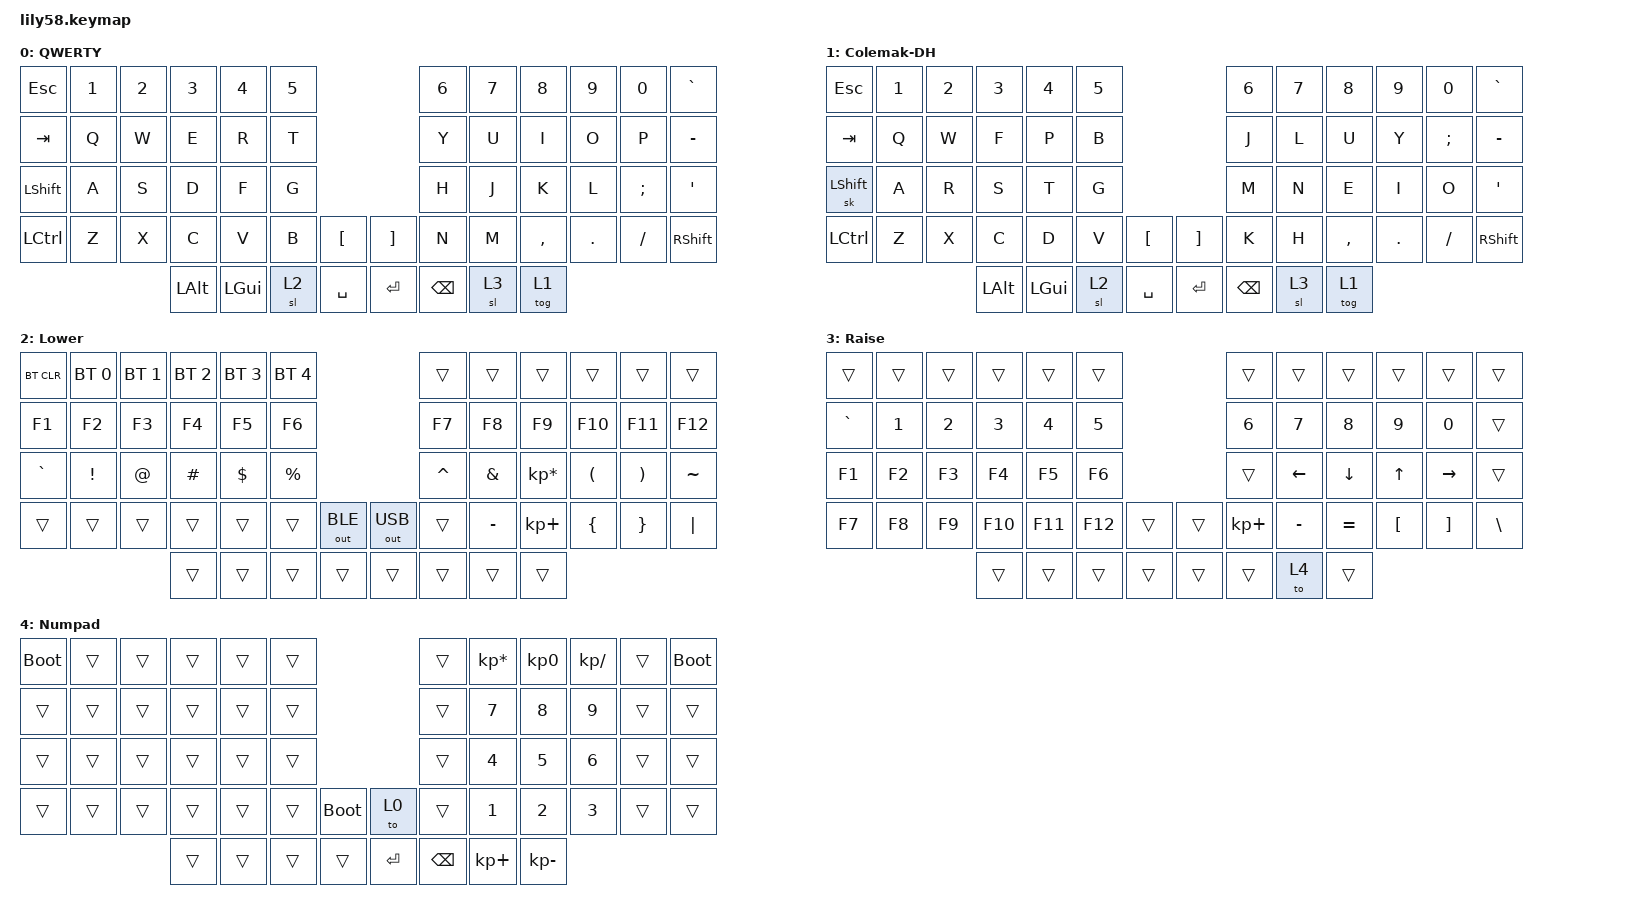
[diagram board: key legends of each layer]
/*
 * Copyright (c) 2020 The ZMK Contributors
 *
 * SPDX-License-Identifier: MIT
 */

#include <behaviors.dtsi>
#include <dt-bindings/zmk/bt.h>
#include <dt-bindings/zmk/keys.h>
#include <dt-bindings/zmk/outputs.h>

/ {
    keymap {
        compatible = "zmk,keymap";

        QWERTY {
            // ------------------------------------------------------------------------------------------------------------
            // |  ESC  |  1  |  2  |  3   |  4   |  5   |                   |  6   |  7    |  8    |  9   |   0   |   `   |
            // |  TAB  |  Q  |  W  |  E   |  R   |  T   |                   |  Y   |  U    |  I    |  O   |   P   |   -   |
            // |  CTRL |  A  |  S  |  D   |  F   |  G   |                   |  H   |  J    |  K    |  L   |   ;   |   '   |
            // | SHIFT |  Z  |  X  |  C   |  V   |  B   |   "["  |  |  "]"  |  N   |  M    |  ,    |  .   |   /   | SHIFT |
            //                     | ALT  | GUI  | LOWER|  SPACE |  | ENTER | RAISE| BSPC  | GUI   |

            display-name = "QWERTY";
            bindings = <
&kp ESC    &kp N1  &kp N2  &kp N3    &kp N4    &kp N5                         &kp N6         &kp N7  &kp N8     &kp N9   &kp N0    &kp GRAVE
&kp TAB    &kp Q   &kp W   &kp E     &kp R     &kp T                          &kp Y          &kp U   &kp I      &kp O    &kp P     &kp MINUS
&kp LSHFT  &kp A   &kp S   &kp D     &kp F     &kp G                          &kp H          &kp J   &kp K      &kp L    &kp SEMI  &kp SQT
&kp LCTRL  &kp Z   &kp X   &kp C     &kp V     &kp B   &kp LBKT     &kp RBKT  &kp N          &kp M   &kp COMMA  &kp DOT  &kp FSLH  &kp RSHFT
                           &kp LALT  &kp LGUI  &sl 2   &kp SPACE    &kp RET   &kp BACKSPACE  &sl 3   &tog 1
            >;
        };

        Colemak-DH {
            bindings = <
&kp ESC         &kp N1  &kp N2  &kp N3    &kp N4    &kp N5                          &kp N6    &kp N7  &kp N8     &kp N9   &kp N0    &kp GRAVE
&kp TAB         &kp Q   &kp W   &kp F     &kp P     &kp B                           &kp J     &kp L   &kp U      &kp Y    &kp SEMI  &kp MINUS
&sk LEFT_SHIFT  &kp A   &kp R   &kp S     &kp T     &kp G                           &kp M     &kp N   &kp E      &kp I    &kp O     &kp APOS
&kp LCTRL       &kp Z   &kp X   &kp C     &kp D     &kp V   &kp LBKT     &kp RBKT   &kp K     &kp H   &kp COMMA  &kp DOT  &kp FSLH  &kp RSHFT
                                &kp LALT  &kp LGUI  &sl 2   &kp SPACE    &kp ENTER  &kp BSPC  &sl 3   &tog 1
            >;

            label = "Colemak-DH";
        };

        lower_layer {
            // ------------------------------------------------------------------------------------------------------------
            // | BTCLR | BT1 | BT2 |  BT3 |  BT4 |  BT5 |                   |      |       |       |      |       |       |
            // |  F1   |  F2 |  F3 |  F4  |  F5  |  F6  |                   |  F7  |  F8   |  F9   |  F10 |  F11  |  F12  |
            // |   `   |  !  |  @  |  #   |  $   |  %   |                   |  ^   |  &    |  *    |  (   |   )   |   ~   |
            // |       |     |     |      |      |      |        |  |       |      |  _    |  +    |  {   |   }   |  "|"  |
            //                     |      |      |      |        |  |       |      |       |       |

            display-name = "Lower";
            bindings = <
&bt BT_CLR  &bt BT_SEL 0  &bt BT_SEL 1  &bt BT_SEL 2  &bt BT_SEL 3  &bt BT_SEL 4                                &trans     &trans     &trans           &trans    &trans    &trans
&kp F1      &kp F2        &kp F3        &kp F4        &kp F5        &kp F6                                      &kp F7     &kp F8     &kp F9           &kp F10   &kp F11   &kp F12
&kp GRAVE   &kp EXCL      &kp AT        &kp HASH      &kp DOLLAR    &kp PRCNT                                   &kp CARET  &kp AMPS   &kp KP_MULTIPLY  &kp LPAR  &kp RPAR  &kp TILDE
&trans      &trans        &trans        &trans        &trans        &trans        &out OUT_BLE    &out OUT_USB  &trans     &kp MINUS  &kp KP_PLUS      &kp LBRC  &kp RBRC  &kp PIPE
                                        &trans        &trans        &trans        &trans          &trans        &trans     &trans     &trans
            >;
        };

        raise_layer {
            // ------------------------------------------------------------------------------------------------------------
            // |       |     |     |      |      |      |                   |      |       |       |      |       |       |
            // |   `   |  1  |  2  |  3   |  4   |  5   |                   |  6   |   7   |   8   |  9   |   0   |       |
            // |   F1  |  F2 |  F3 |  F4  |  F5  |  F6  |                   |      |   <-  |   v   |  ^   |  ->   |       |
            // |   F7  |  F8 |  F9 |  F10 |  F11 |  F12 |        |  |       |  +   |   -   |   =   |  [   |   ]   |   \   |
            //                     |      |      |      |        |  |       |      |       |       |

            display-name = "Raise";
            bindings = <
&trans     &trans  &trans  &trans   &trans   &trans                     &trans       &trans     &trans     &trans    &trans     &trans
&kp GRAVE  &kp N1  &kp N2  &kp N3   &kp N4   &kp N5                     &kp N6       &kp N7     &kp N8     &kp N9    &kp N0     &trans
&kp F1     &kp F2  &kp F3  &kp F4   &kp F5   &kp F6                     &trans       &kp LEFT   &kp DOWN   &kp UP    &kp RIGHT  &trans
&kp F7     &kp F8  &kp F9  &kp F10  &kp F11  &kp F12  &trans    &trans  &kp KP_PLUS  &kp MINUS  &kp EQUAL  &kp LBKT  &kp RBKT   &kp BSLH
                           &trans   &trans   &trans   &trans    &trans  &trans       &to 4      &trans
            >;
        };

        Numpad {
            bindings = <
&bootloader  &trans  &trans  &trans  &trans  &trans                            &trans    &kp KP_MULTIPLY  &kp KP_NUMBER_0  &kp KP_DIVIDE  &trans  &bootloader
&trans       &trans  &trans  &trans  &trans  &trans                            &trans    &kp N7           &kp N8           &kp N9         &trans  &trans
&trans       &trans  &trans  &trans  &trans  &trans                            &trans    &kp N4           &kp N5           &kp N6         &trans  &trans
&trans       &trans  &trans  &trans  &trans  &trans  &bootloader    &to 0      &trans    &kp NUMBER_1     &kp N2           &kp N3         &trans  &trans
                             &trans  &trans  &trans  &trans         &kp ENTER  &kp BSPC  &kp KP_PLUS      &kp KP_SUBTRACT
            >;

            label = "Numpad";
        };
    };
};
